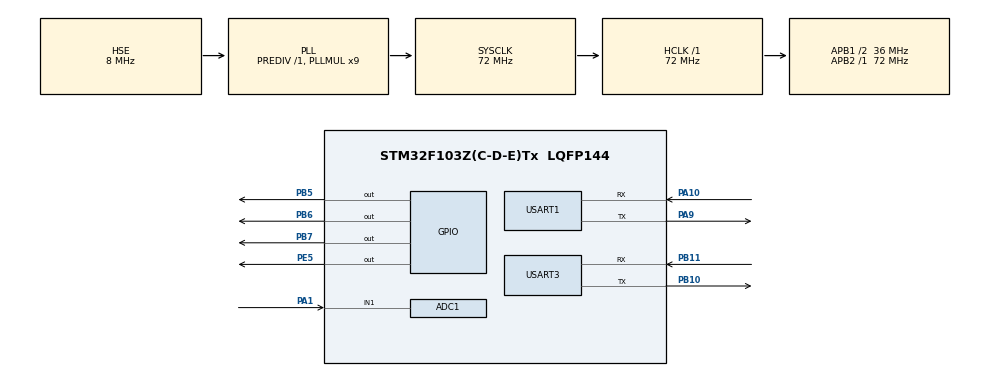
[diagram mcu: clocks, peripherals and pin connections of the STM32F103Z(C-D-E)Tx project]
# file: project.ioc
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ADC1.Channel-1\#ChannelRegularConversion=ADC_CHANNEL_1
ADC1.NbrOfConversion=1
ADC1.NbrOfConversionFlag=1
ADC1.Rank-1\#ChannelRegularConversion=1
ADC1.SamplingTime-1\#ChannelRegularConversion=ADC_SAMPLETIME_239CYCLES_5
ADC1.master=1
Mcu.Family=STM32F1
Mcu.Name=STM32F103Z(C-D-E)Tx
Mcu.Package=LQFP144
NVIC.PriorityGroup=NVIC_PRIORITYGROUP_4
OSC_IN.Mode=HSE-External-Oscillator
OSC_IN.Signal=RCC_OSC_IN
OSC_OUT.Mode=HSE-External-Oscillator
OSC_OUT.Signal=RCC_OSC_OUT
PA1.Signal=ADCx_IN1
PA10.Mode=Asynchronous
PA10.Signal=USART1_RX
PA13.Mode=Serial_Wire
PA13.Signal=SYS_JTMS-SWDIO
PA14.Mode=Serial_Wire
PA14.Signal=SYS_JTCK-SWCLK
PA9.Mode=Asynchronous
PA9.Signal=USART1_TX
PB10.Mode=Asynchronous
PB10.Signal=USART3_TX
PB11.Mode=Asynchronous
PB11.Signal=USART3_RX
PB5.GPIO_PuPd=GPIO_PULLUP
PB5.PinState=GPIO_PIN_RESET
PB5.Signal=GPIO_Output
PB6.GPIO_ModeDefaultOutputPP=GPIO_MODE_OUTPUT_OD
PB6.GPIO_PuPd=GPIO_PULLUP
PB6.GPIO_Speed=GPIO_SPEED_FREQ_HIGH
PB6.PinState=GPIO_PIN_SET
PB6.Signal=GPIO_Output
PB7.GPIO_ModeDefaultOutputPP=GPIO_MODE_OUTPUT_OD
PB7.GPIO_PuPd=GPIO_PULLUP
PB7.GPIO_Speed=GPIO_SPEED_FREQ_HIGH
PB7.PinState=GPIO_PIN_SET
PB7.Signal=GPIO_Output
PE5.GPIO_PuPd=GPIO_PULLUP
PE5.Signal=GPIO_Output
ProjectManager.HeapSize=0x200
ProjectManager.StackSize=0x400
ProjectManager.TargetToolchain=CMake
RCC.ADCPresc=RCC_ADCPCLK2_DIV6
RCC.AHBFreq_Value=72000000
RCC.APB1CLKDivider=RCC_HCLK_DIV2
RCC.APB1Freq_Value=36000000
RCC.APB1TimFreq_Value=72000000
RCC.APB2Freq_Value=72000000
RCC.APB2TimFreq_Value=72000000
RCC.HCLKFreq_Value=72000000
RCC.PLLMUL=RCC_PLL_MUL9
RCC.PLLSourceVirtual=RCC_PLLSOURCE_HSE
RCC.SYSCLKFreq_VALUE=72000000
RCC.SYSCLKSource=RCC_SYSCLKSOURCE_PLLCLK
RCC.USBFreq_Value=72000000
SH.ADCx_IN1.0=ADC1_IN1,IN1
USART1.VirtualMode=VM_ASYNC
USART3.VirtualMode=VM_ASYNC
board=custom

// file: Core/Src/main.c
/* USER CODE BEGIN Header */
/**
  ******************************************************************************
  * @file           : main.c
  * @brief          : Main program body
  ******************************************************************************
  * @attention
  *
  * Copyright (c) 2026 STMicroelectronics.
  * All rights reserved.
  *
  * This software is licensed under terms that can be found in the LICENSE file
  * in the root directory of this software component.
  * If no LICENSE file comes with this software, it is provided AS-IS.
  *
  ******************************************************************************
  */
/* USER CODE END Header */
#include "main.h"

/* USER CODE BEGIN Includes */
#include <stdio.h>
#include "oled_i2c.h"
#include "mq135.h"
#include "dht11.h"
#include "bh1750.h"
#include "env_sensor.h"
#include "esp8266.h"
#include "bemfa_cloud.h"
/* USER CODE END Includes */

ADC_HandleTypeDef hadc1;

UART_HandleTypeDef huart1;
UART_HandleTypeDef huart3;

/* USER CODE BEGIN PV */
/* 全系统统一的环境数据 */
static Environment_Data_t env;

/* 云平台状态：0 = 未连上，1 = 已连上 */
static uint8_t  cloud_ready = 0U;
static uint8_t  upload_fail_count = 0U;
static uint32_t last_upload_tick = 0U;
static uint32_t last_retry_tick = 0U;
/* USER CODE END PV */

void SystemClock_Config(void);
static void MX_GPIO_Init(void);
static void MX_ADC1_Init(void);
static void MX_USART1_UART_Init(void);
static void MX_USART3_UART_Init(void);

/* USER CODE BEGIN 0 */
/* ============================================================
 * 调试模式开关
 *   1 = 透传模式：串口助手(USART1) <-> ESP8266(USART3) 直通
 *       可以在串口助手里手打 AT 指令，调试完改回 0
 *   0 = 正常运行（传感器 + OLED + 上传）
 * ============================================================ */
#define ESP_BRIDGE_MODE   0

#if ESP_BRIDGE_MODE
static void ESP_Bridge(void)
{
  uint8_t ch;

  printf("\r\n===== ESP8266 BRIDGE MODE =====\r\n");
  printf("Type AT commands here (115200 8N1)\r\n\r\n");

  while (1)
  {
    if (HAL_UART_Receive(&huart1, &ch, 1U, 1U) == HAL_OK)
    {
      HAL_UART_Transmit(&huart3, &ch, 1U, 100U);
    }

    if (HAL_UART_Receive(&huart3, &ch, 1U, 1U) == HAL_OK)
    {
      HAL_UART_Transmit(&huart1, &ch, 1U, 100U);
    }
  }
}
#endif
/* USER CODE END 0 */

int main(void)
{

  /* MCU Configuration--------------------------------------------------------*/

  /* Reset of all peripherals, Initializes the Flash interface and the Systick. */
  HAL_Init();

  /* Configure the system clock */
  SystemClock_Config();

  /* Initialize all configured peripherals */
  MX_GPIO_Init();
  MX_ADC1_Init();
  MX_USART1_UART_Init();
  MX_USART3_UART_Init();
  /* USER CODE BEGIN 2 */
  printf("\r\nEnvironment Sensor start\r\n");

  MQ135_Init();                          /* ADC 校准 */
  OLED_Init();                           /* SSD1306 初始化 + 清屏 */

  if (DHT11_Init() != SENSOR_OK)
  {
    printf("DHT11 init failed\r\n");
  }

  if (BH1750_Init() != SENSOR_OK)
  {
    printf("BH1750 init failed\r\n");
  }

  EnvSensor_Init(&env);

  /* ---------- 连接 WiFi ---------- */
  printf("WiFi connecting...\r\n");

  if (BemfaCloud_Init() == SENSOR_OK)
  {
    cloud_ready = 1U;
    last_upload_tick = HAL_GetTick();
    printf("WiFi: connected\r\n");
    OLED_ShowStringPad(0, 0, "WiFi: OK", 17);
  }
  else
  {
    cloud_ready = 0U;
    last_retry_tick = HAL_GetTick();
    printf("WiFi: connect failed\r\n");
    OLED_ShowStringPad(0, 0, "WiFi: FAIL", 17);
  }

  HAL_Delay(800);                        /* 让自检结果在屏上停留一下 */
/* USER CODE END 2 */

  /* Infinite loop */
  /* USER CODE BEGIN WHILE */
  while (1)
  {
    HAL_GPIO_WritePin(GPIOE, GPIO_PIN_5, GPIO_PIN_SET);
    HAL_GPIO_WritePin(GPIOB, GPIO_PIN_5, GPIO_PIN_SET);

    /* USER CODE END WHILE */

    /* USER CODE BEGIN 3 */
    char line[24];

    /* ---------- 统一采集 ---------- */
    EnvSensor_ReadAll(&env);

    /* ---------- 空气质量 + 等级 ---------- */
    if (env.mq135_valid != 0U)
    {
      snprintf(line, sizeof(line), "Air: %u %s",
               (unsigned int)env.air_quality, MQ135_GetLevelText(env.air_level));
      OLED_ShowStringPad(0, 0, line, 17);

      printf("Air: ADC=%u Level=%s\r\n",
             (unsigned int)env.air_quality, MQ135_GetLevelText(env.air_level));
    }
    else
    {
      OLED_ShowStringPad(0, 0, "Air: ERROR", 17);
      printf("MQ135 read failed\r\n");
    }

    /* ---------- 温湿度 ---------- */
    if (env.dht11_valid != 0U)
    {
      uint16_t t10 = (uint16_t)(env.temperature * 10.0f + 0.5f);
      uint16_t h10 = (uint16_t)(env.humidity * 10.0f + 0.5f);

      snprintf(line, sizeof(line), "Temp: %u.%uC",
               (unsigned int)(t10 / 10U), (unsigned int)(t10 % 10U));
      OLED_ShowStringPad(0, 2, line, 17);

      snprintf(line, sizeof(line), "Humi: %u.%u%%",
               (unsigned int)(h10 / 10U), (unsigned int)(h10 % 10U));
      OLED_ShowStringPad(0, 4, line, 17);

      printf("Temp=%u.%u C  Humi=%u.%u %%\r\n",
             (unsigned int)(t10 / 10U), (unsigned int)(t10 % 10U),
             (unsigned int)(h10 / 10U), (unsigned int)(h10 % 10U));
    }
    else
    {
      OLED_ShowStringPad(0, 2, "Temp: ERROR", 17);
      OLED_ShowStringPad(0, 4, "Humi: ERROR", 17);
      printf("DHT11 read failed\r\n");
    }

    /* ---------- 光照 ---------- */
    if (env.bh1750_valid != 0U)
    {
      uint32_t l10 = (uint32_t)(env.light * 10.0f + 0.5f);

      snprintf(line, sizeof(line), "Lux: %u.%u",
               (unsigned int)(l10 / 10U), (unsigned int)(l10 % 10U));
      OLED_ShowStringPad(0, 6, line, 17);

      printf("Lux=%u.%u lx\r\n",
             (unsigned int)(l10 / 10U), (unsigned int)(l10 % 10U));
    }
    else
    {
      OLED_ShowStringPad(0, 6, "Lux: ERROR", 17);
      printf("BH1750 read failed\r\n");
    }

    /* ---------- 云端上报：每 10s 一次，连续失败 3 次才重连 ---------- */
    {
      uint32_t now = HAL_GetTick();

      if ((cloud_ready != 0U) && ((now - last_upload_tick) >= 10000U))
      {
        last_upload_tick = now;

        if (BemfaCloud_Upload(&env) == SENSOR_OK)
        {
          upload_fail_count = 0U;
          printf("Bemfa upload: OK\r\n");
        }
        else
        {
          upload_fail_count++;
          printf("Bemfa upload: FAILED (%u)\r\n", upload_fail_count);

          if (upload_fail_count >= 3U)
          {
            upload_fail_count = 0U;
            cloud_ready = 0U;
            last_retry_tick = now;
            printf("WiFi lost, will reconnect in 10s\r\n");
          }
        }
      }
      else if ((cloud_ready == 0U) && ((now - last_retry_tick) >= 10000U))
      {
        last_retry_tick = now;
        printf("WiFi reconnecting...\r\n");

        if (BemfaCloud_Init() == SENSOR_OK)
        {
          cloud_ready = 1U;
          last_upload_tick = now;
          printf("WiFi: reconnected\r\n");
        }
        else
        {
          printf("WiFi: reconnect failed\r\n");
        }
      }
    }

    HAL_Delay(2000);   /* DHT11 采样周期不能小于 1s，这里统一 2s */
  }
/* USER CODE END 3 */
}

void SystemClock_Config(void)
{
  RCC_OscInitTypeDef RCC_OscInitStruct = {0};
  RCC_ClkInitTypeDef RCC_ClkInitStruct = {0};
  RCC_PeriphCLKInitTypeDef PeriphClkInit = {0};

  /** Initializes the RCC Oscillators according to the specified parameters
  * in the RCC_OscInitTypeDef structure.
  */
  RCC_OscInitStruct.OscillatorType = RCC_OSCILLATORTYPE_HSE;
  RCC_OscInitStruct.HSEState = RCC_HSE_ON;
  RCC_OscInitStruct.HSEPredivValue = RCC_HSE_PREDIV_DIV1;
  RCC_OscInitStruct.HSIState = RCC_HSI_ON;
  RCC_OscInitStruct.PLL.PLLState = RCC_PLL_ON;
  RCC_OscInitStruct.PLL.PLLSource = RCC_PLLSOURCE_HSE;
  RCC_OscInitStruct.PLL.PLLMUL = RCC_PLL_MUL9;
  if (HAL_RCC_OscConfig(&RCC_OscInitStruct) != HAL_OK)
  {
    Error_Handler();
  }

  /** Initializes the CPU, AHB and APB buses clocks
  */
  RCC_ClkInitStruct.ClockType = RCC_CLOCKTYPE_HCLK|RCC_CLOCKTYPE_SYSCLK
                              |RCC_CLOCKTYPE_PCLK1|RCC_CLOCKTYPE_PCLK2;
  RCC_ClkInitStruct.SYSCLKSource = RCC_SYSCLKSOURCE_PLLCLK;
  RCC_ClkInitStruct.AHBCLKDivider = RCC_SYSCLK_DIV1;
  RCC_ClkInitStruct.APB1CLKDivider = RCC_HCLK_DIV2;
  RCC_ClkInitStruct.APB2CLKDivider = RCC_HCLK_DIV1;

  if (HAL_RCC_ClockConfig(&RCC_ClkInitStruct, FLASH_LATENCY_2) != HAL_OK)
  {
    Error_Handler();
  }
  PeriphClkInit.PeriphClockSelection = RCC_PERIPHCLK_ADC;
  PeriphClkInit.AdcClockSelection = RCC_ADCPCLK2_DIV6;
  if (HAL_RCCEx_PeriphCLKConfig(&PeriphClkInit) != HAL_OK)
  {
    Error_Handler();
  }
}

static void MX_ADC1_Init(void)
{

  ADC_ChannelConfTypeDef sConfig = {0};

  /** Common config
  */
  hadc1.Instance = ADC1;
  hadc1.Init.ScanConvMode = ADC_SCAN_DISABLE;
  hadc1.Init.ContinuousConvMode = DISABLE;
  hadc1.Init.DiscontinuousConvMode = DISABLE;
  hadc1.Init.ExternalTrigConv = ADC_SOFTWARE_START;
  hadc1.Init.DataAlign = ADC_DATAALIGN_RIGHT;
  hadc1.Init.NbrOfConversion = 1;
  if (HAL_ADC_Init(&hadc1) != HAL_OK)
  {
    Error_Handler();
  }

  /** Configure Regular Channel
  */
  sConfig.Channel = ADC_CHANNEL_1;
  sConfig.Rank = ADC_REGULAR_RANK_1;
  sConfig.SamplingTime = ADC_SAMPLETIME_239CYCLES_5;
  if (HAL_ADC_ConfigChannel(&hadc1, &sConfig) != HAL_OK)
  {
    Error_Handler();
  }

}

static void MX_USART1_UART_Init(void)
{

  huart1.Instance = USART1;
  huart1.Init.BaudRate = 115200;
  huart1.Init.WordLength = UART_WORDLENGTH_8B;
  huart1.Init.StopBits = UART_STOPBITS_1;
  huart1.Init.Parity = UART_PARITY_NONE;
  huart1.Init.Mode = UART_MODE_TX_RX;
  huart1.Init.HwFlowCtl = UART_HWCONTROL_NONE;
  huart1.Init.OverSampling = UART_OVERSAMPLING_16;
  if (HAL_UART_Init(&huart1) != HAL_OK)
  {
    Error_Handler();
  }

}

static void MX_USART3_UART_Init(void)
{

  huart3.Instance = USART3;
  huart3.Init.BaudRate = 115200;
  huart3.Init.WordLength = UART_WORDLENGTH_8B;
  huart3.Init.StopBits = UART_STOPBITS_1;
  huart3.Init.Parity = UART_PARITY_NONE;
  huart3.Init.Mode = UART_MODE_TX_RX;
  huart3.Init.HwFlowCtl = UART_HWCONTROL_NONE;
  huart3.Init.OverSampling = UART_OVERSAMPLING_16;
  if (HAL_UART_Init(&huart3) != HAL_OK)
  {
    Error_Handler();
  }

}

static void MX_GPIO_Init(void)
{
  GPIO_InitTypeDef GPIO_InitStruct = {0};

  /* GPIO Ports Clock Enable */
  __HAL_RCC_GPIOE_CLK_ENABLE();
  __HAL_RCC_GPIOA_CLK_ENABLE();
  __HAL_RCC_GPIOB_CLK_ENABLE();

  /*Configure GPIO pin Output Level */
  HAL_GPIO_WritePin(GPIOE, GPIO_PIN_5, GPIO_PIN_RESET);

  /*Configure GPIO pin Output Level */
  HAL_GPIO_WritePin(GPIOB, GPIO_PIN_5, GPIO_PIN_RESET);

  /*Configure GPIO pin Output Level */
  HAL_GPIO_WritePin(GPIOB, GPIO_PIN_6|GPIO_PIN_7, GPIO_PIN_SET);

  /*Configure GPIO pin : PE5 */
  GPIO_InitStruct.Pin = GPIO_PIN_5;
  GPIO_InitStruct.Mode = GPIO_MODE_OUTPUT_PP;
  GPIO_InitStruct.Pull = GPIO_PULLUP;
  GPIO_InitStruct.Speed = GPIO_SPEED_FREQ_LOW;
  HAL_GPIO_Init(GPIOE, &GPIO_InitStruct);

  /*Configure GPIO pin : PB5 */
  GPIO_InitStruct.Pin = GPIO_PIN_5;
  GPIO_InitStruct.Mode = GPIO_MODE_OUTPUT_PP;
  GPIO_InitStruct.Pull = GPIO_PULLUP;
  GPIO_InitStruct.Speed = GPIO_SPEED_FREQ_LOW;
  HAL_GPIO_Init(GPIOB, &GPIO_InitStruct);

  /*Configure GPIO pins : PB6 PB7 */
  GPIO_InitStruct.Pin = GPIO_PIN_6|GPIO_PIN_7;
  GPIO_InitStruct.Mode = GPIO_MODE_OUTPUT_OD;
  GPIO_InitStruct.Pull = GPIO_PULLUP;
  GPIO_InitStruct.Speed = GPIO_SPEED_FREQ_HIGH;
  HAL_GPIO_Init(GPIOB, &GPIO_InitStruct);

}

/* USER CODE BEGIN 4 */
int __io_putchar(int ch)
{
  HAL_UART_Transmit(&huart1, (uint8_t *)&ch, 1, 0xFFFF);
  return ch;
}
/* USER CODE END 4 */

void Error_Handler(void)
{
  __disable_irq();
  while (1)
  {
  }
}
